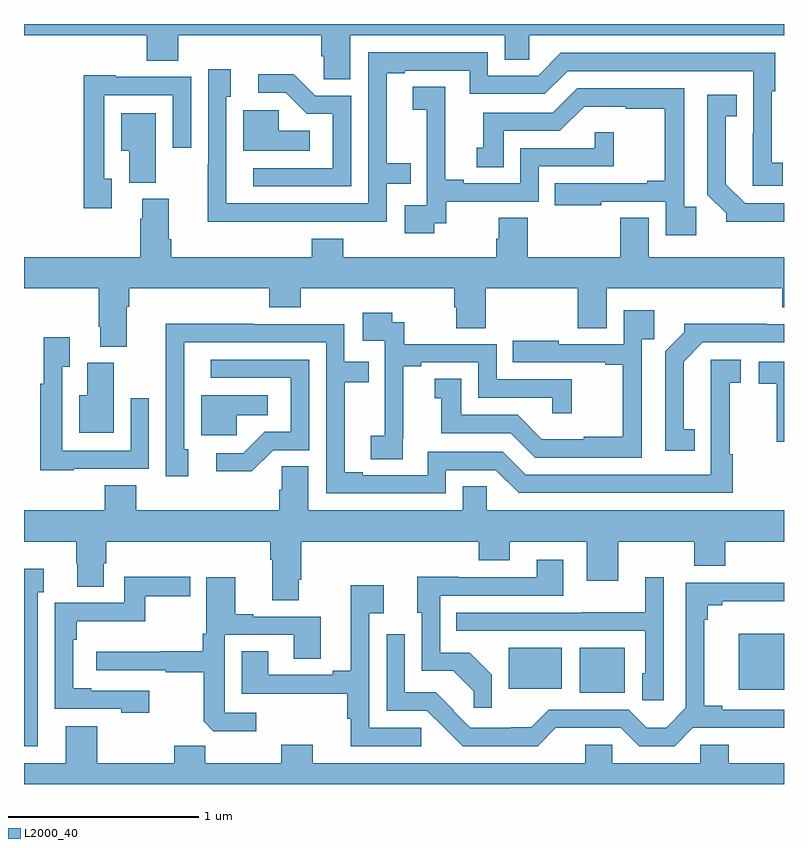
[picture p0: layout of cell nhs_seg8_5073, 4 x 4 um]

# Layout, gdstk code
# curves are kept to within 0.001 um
import gdstk
lib = gdstk.Library(unit=1e-6, precision=1e-09)
def R(c, l, rs):  # rectangles x0, y0, x1, y1
    for r in rs: c.add(gdstk.rectangle(r[:2], r[2:], *l))
def P(c, l, *ps):  # polygons
    for p in ps: c.add(gdstk.Polygon(p, *l))
L2000_40 = (2000, 40)

nhs_seg8_5073 = lib.new_cell('nhs_seg8_5073')
R(nhs_seg8_5073, L2000_40, [(419.924,1106.381,420.163,1106.617), (420.761,1106.396,421,1106.692), (419.552,1106.402,419.83,1106.617)])
P(nhs_seg8_5073, L2000_40, [(418.717,1109.84),(419.531,1109.84),(419.531,1109.713),(419.658,1109.713),(419.658,1109.84),(421,1109.84),(421,1109.9),(417,1109.9),(417,1109.84),(417.647,1109.84),(417.647,1109.707),(417.812,1109.707),(417.812,1109.84),(418.565,1109.84),(418.565,1109.731),(418.578,1109.731),(418.578,1109.608),(418.717,1109.608)],
  [(418.43,1108.86),(418.908,1108.86),(418.908,1109.058),(419.036,1109.058),(419.036,1109.167),(418.909,1109.167),(418.909,1109.64),(419.005,1109.64),(419.005,1109.655),(419.346,1109.655),(419.346,1109.532),(419.742,1109.532),(419.862,1109.652),(420.837,1109.652),(420.836,1109.049),(420.994,1109.049),(420.994,1109.169),(420.936,1109.169),(420.936,1109.545),(420.953,1109.545),(420.953,1109.748),(419.826,1109.748),(419.706,1109.628),(419.442,1109.628),(419.442,1109.751),(418.812,1109.751),(418.812,1108.956),(418.065,1108.956),(418.065,1109.517),(418.087,1109.517),(418.087,1109.662),(417.969,1109.662),(417.968,1108.859)],
  [(418.722,1109.523),(418.533,1109.523),(418.42,1109.636),(418.233,1109.636),(418.233,1109.538),(418.377,1109.538),(418.488,1109.427),(418.626,1109.427),(418.626,1109.142),(418.206,1109.142),(418.206,1109.046),(418.722,1109.046)],
  [(417.463,1109.085),(417.423,1109.085),(417.423,1109.526),(417.783,1109.526),(417.783,1109.25),(417.879,1109.25),(417.879,1109.622),(417.483,1109.622),(417.483,1109.629),(417.315,1109.629),(417.315,1108.929),(417.463,1108.929)],
  [(419.16,1108.851),(419.222,1108.851),(419.222,1108.965),(419.709,1108.965),(419.709,1109.151),(420.104,1109.151),(420.104,1109.329),(420.003,1109.329),(420.003,1109.247),(419.613,1109.247),(419.613,1109.061),(419.314,1109.061),(419.314,1109.081),(419.218,1109.081),(419.218,1109.459),(419.216,1109.459),(419.216,1109.57),(419.046,1109.57),(419.046,1109.449),(419.12,1109.449),(419.12,1109.251),(419.121,1109.251),(419.121,1108.947),(419.004,1108.947),(419.004,1108.8),(419.16,1108.8)],
  [(420.539,1108.939),(420.474,1108.939),(420.474,1109.562),(419.913,1109.562),(419.784,1109.433),(419.417,1109.433),(419.417,1109.25),(419.384,1109.25),(419.384,1109.146),(419.524,1109.146),(419.524,1109.337),(419.82,1109.337),(419.948,1109.465),(420.167,1109.465),(420.167,1109.454),(420.373,1109.454),(420.373,1109.074),(420.281,1109.074),(420.281,1109.061),(419.794,1109.061),(419.794,1108.946),(420.037,1108.946),(420.037,1108.965),(420.378,1108.965),(420.378,1108.788),(420.539,1108.788)],
  [(421,1108.956),(420.795,1108.956),(420.694,1109.057),(420.694,1109.414),(420.752,1109.414),(420.752,1109.527),(420.597,1109.527),(420.597,1109.002),(420.696,1108.903),(420.696,1108.859),(421,1108.859)],
  [(418.504,1109.338),(418.341,1109.338),(418.341,1109.445),(418.154,1109.445),(418.154,1109.234),(418.504,1109.234)],
  [(417.694,1109.431),(417.512,1109.431),(417.512,1109.234),(417.554,1109.234),(417.554,1109.065),(417.694,1109.065)],
  [(419.651,1108.88),(419.498,1108.88),(419.498,1108.77),(419.486,1108.77),(419.486,1108.672),(418.679,1108.672),(418.679,1108.771),(418.514,1108.771),(418.514,1108.672),(417.776,1108.672),(417.776,1108.768),(417.763,1108.768),(417.763,1108.98),(417.623,1108.98),(417.623,1108.874),(417.611,1108.874),(417.611,1108.672),(417,1108.672),(417,1108.508),(417.394,1108.508),(417.394,1108.306),(417.401,1108.306),(417.401,1108.201),(417.541,1108.201),(417.541,1108.412),(417.554,1108.412),(417.554,1108.508),(418.292,1108.508),(418.292,1108.409),(418.457,1108.409),(418.457,1108.508),(419.264,1108.508),(419.264,1108.41),(419.276,1108.41),(419.276,1108.3),(419.429,1108.3),(419.429,1108.508),(419.915,1108.508),(419.915,1108.3),(420.067,1108.3),(420.067,1108.508),(420.992,1108.508),(420.992,1108.409),(421,1108.409),(421,1108.672),(420.289,1108.672),(420.289,1108.88),(420.137,1108.88),(420.137,1108.672),(419.651,1108.672)],
  [(420.252,1108.241),(420.317,1108.241),(420.317,1108.393),(420.156,1108.393),(420.156,1108.215),(419.815,1108.215),(419.815,1108.234),(419.572,1108.234),(419.572,1108.119),(420.059,1108.119),(420.059,1108.107),(420.151,1108.107),(420.151,1107.727),(419.945,1107.727),(419.945,1107.715),(419.726,1107.715),(419.598,1107.843),(419.302,1107.843),(419.302,1108.034),(419.162,1108.034),(419.162,1107.931),(419.195,1107.931),(419.195,1107.747),(419.562,1107.747),(419.691,1107.618),(420.252,1107.618)],
  [(418.994,1107.721),(418.996,1107.721),(418.996,1108.099),(419.092,1108.099),(419.092,1108.119),(419.391,1108.119),(419.391,1107.933),(419.781,1107.933),(419.781,1107.852),(419.882,1107.852),(419.882,1108.029),(419.487,1108.029),(419.487,1108.215),(419,1108.215),(419,1108.329),(418.938,1108.329),(418.938,1108.381),(418.782,1108.381),(418.782,1108.233),(418.899,1108.233),(418.899,1107.929),(418.898,1107.929),(418.898,1107.732),(418.824,1107.732),(418.824,1107.61),(418.994,1107.61)],
  [(420.53,1107.767),(420.472,1107.767),(420.472,1108.123),(420.573,1108.224),(421,1108.224),(421,1108.32),(420.908,1108.32),(420.908,1108.322),(420.474,1108.322),(420.474,1108.277),(420.375,1108.178),(420.375,1107.654),(420.53,1107.654)],
  [(419.22,1107.552),(419.484,1107.552),(419.604,1107.432),(420.731,1107.432),(420.731,1107.635),(420.714,1107.635),(420.714,1108.011),(420.772,1108.011),(420.772,1108.132),(420.614,1108.132),(420.615,1107.528),(419.64,1107.528),(419.52,1107.648),(419.124,1107.648),(419.124,1107.525),(418.783,1107.525),(418.783,1107.54),(418.687,1107.54),(418.687,1108.014),(418.814,1108.014),(418.814,1108.122),(418.686,1108.122),(418.686,1108.32),(418.208,1108.32),(418.208,1108.322),(417.746,1108.322),(417.747,1107.519),(417.865,1107.519),(417.865,1107.663),(417.843,1107.663),(417.843,1108.224),(418.59,1108.224),(418.59,1107.429),(419.22,1107.429)],
  [(417.261,1107.558),(417.657,1107.558),(417.657,1107.931),(417.561,1107.931),(417.561,1107.654),(417.201,1107.654),(417.201,1108.096),(417.241,1108.096),(417.241,1108.252),(417.104,1108.252),(417.104,1108.007),(417.085,1108.007),(417.085,1107.551),(417.261,1107.551)],
  [(418.311,1107.657),(418.5,1107.657),(418.5,1108.134),(417.984,1108.134),(417.984,1108.038),(418.404,1108.038),(418.404,1107.753),(418.266,1107.753),(418.155,1107.642),(418.011,1107.642),(418.011,1107.545),(418.198,1107.545)],
  [(421,1108.122),(420.867,1108.122),(420.867,1108.006),(420.961,1108.006),(420.961,1107.702),(421,1107.702)],
  [(417.472,1108.116),(417.332,1108.116),(417.332,1107.946),(417.29,1107.946),(417.29,1107.749),(417.472,1107.749)],
  [(418.119,1107.842),(418.282,1107.842),(418.282,1107.946),(417.932,1107.946),(417.932,1107.735),(418.119,1107.735)],
  [(419.309,1107.467),(419.309,1107.34),(418.495,1107.34),(418.495,1107.572),(418.356,1107.572),(418.356,1107.449),(418.343,1107.449),(418.343,1107.34),(417.59,1107.34),(417.59,1107.473),(417.425,1107.473),(417.425,1107.34),(417,1107.34),(417,1107.176),(417.274,1107.176),(417.274,1107.063),(417.281,1107.063),(417.281,1106.938),(417.421,1106.938),(417.421,1107.063),(417.434,1107.063),(417.434,1107.176),(418.295,1107.176),(418.295,1107.08),(418.307,1107.08),(418.307,1106.866),(418.447,1106.866),(418.447,1106.974),(418.46,1106.974),(418.46,1107.176),(419.393,1107.176),(419.393,1107.077),(419.557,1107.077),(419.557,1107.176),(419.963,1107.176),(419.963,1106.97),(420.127,1106.97),(420.127,1107.176),(420.527,1107.176),(420.527,1107.048),(420.691,1107.048),(420.691,1107.176),(421,1107.176),(421,1107.34),(419.436,1107.34),(419.436,1107.467)],
  [(419.463,1106.476),(419.347,1106.592),(419.19,1106.592),(419.19,1106.892),(419.839,1106.892),(419.839,1107.079),(419.699,1107.079),(419.699,1106.988),(419.287,1106.988),(419.287,1106.99),(419.069,1106.99),(419.069,1106.802),(419.094,1106.802),(419.094,1106.496),(419.26,1106.496),(419.368,1106.388),(419.368,1106.301),(419.463,1106.301)],
  [(417.073,1106.909),(417.103,1106.909),(417.103,1107.034),(417,1107.034),(417,1106.099),(417.073,1106.099)],
  [(417.658,1106.391),(417.355,1106.391),(417.355,1106.404),(417.258,1106.404),(417.258,1106.66),(417.278,1106.66),(417.278,1106.756),(417.637,1106.756),(417.637,1106.887),(417.874,1106.887),(417.874,1106.99),(417.528,1106.99),(417.528,1106.853),(417.162,1106.853),(417.162,1106.295),(417.513,1106.295),(417.513,1106.276),(417.658,1106.276)],
  [(420.366,1106.989),(420.269,1106.989),(420.269,1106.803),(419.935,1106.803),(419.935,1106.802),(419.275,1106.802),(419.275,1106.706),(420.27,1106.706),(420.27,1106.484),(420.254,1106.484),(420.254,1106.341),(420.366,1106.341)],
  [(418.222,1106.274),(418.056,1106.274),(418.056,1106.685),(418.421,1106.685),(418.421,1106.56),(418.561,1106.56),(418.561,1106.781),(418.207,1106.781),(418.207,1106.794),(418.111,1106.794),(418.111,1106.989),(417.96,1106.989),(417.96,1106.692),(417.94,1106.692),(417.94,1106.6),(417.721,1106.6),(417.721,1106.596),(417.381,1106.596),(417.381,1106.499),(417.745,1106.499),(417.745,1106.487),(417.945,1106.487),(417.945,1106.229),(417.997,1106.178),(418.222,1106.178)],
  [(419.798,1106.195),(420.141,1106.196),(420.237,1106.1),(420.424,1106.1),(420.52,1106.196),(421,1106.195),(421,1106.292),(420.676,1106.292),(420.676,1106.312),(420.581,1106.312),(420.581,1106.765),(420.599,1106.765),(420.599,1106.842),(420.676,1106.842),(420.676,1106.861),(421,1106.861),(421,1106.96),(420.787,1106.96),(420.787,1106.958),(420.483,1106.958),(420.483,1106.301),(420.379,1106.197),(420.278,1106.197),(420.183,1106.292),(419.763,1106.292),(419.669,1106.198),(419.564,1106.198),(419.564,1106.196),(419.349,1106.196),(419.259,1106.286),(419.261,1106.288),(419.167,1106.382),(419.004,1106.382),(419.004,1106.689),(418.908,1106.689),(418.908,1106.286),(419.121,1106.286),(419.309,1106.1),(419.703,1106.1)],
  [(419.091,1106.196),(418.818,1106.196),(418.818,1106.798),(418.894,1106.798),(418.894,1106.947),(418.721,1106.947),(418.721,1106.495),(418.625,1106.495),(418.625,1106.475),(418.285,1106.475),(418.285,1106.6),(418.145,1106.6),(418.145,1106.374),(418.702,1106.374),(418.702,1106.243),(418.721,1106.243),(418.721,1106.1),(419.091,1106.1)],
  [(421,1106.008),(420.71,1106.008),(420.71,1106.106),(420.558,1106.106),(420.558,1106.008),(420.096,1106.008),(420.096,1106.106),(419.954,1106.106),(419.954,1106.008),(418.519,1106.008),(418.519,1106.107),(418.355,1106.107),(418.355,1106.008),(417.955,1106.008),(417.955,1106.101),(417.791,1106.101),(417.791,1106.008),(417.385,1106.008),(417.385,1106.203),(417.221,1106.203),(417.221,1106.008),(417,1106.008),(417,1105.9),(421,1105.9)])

lib.write_gds('nhs_seg8_5073.gds')
